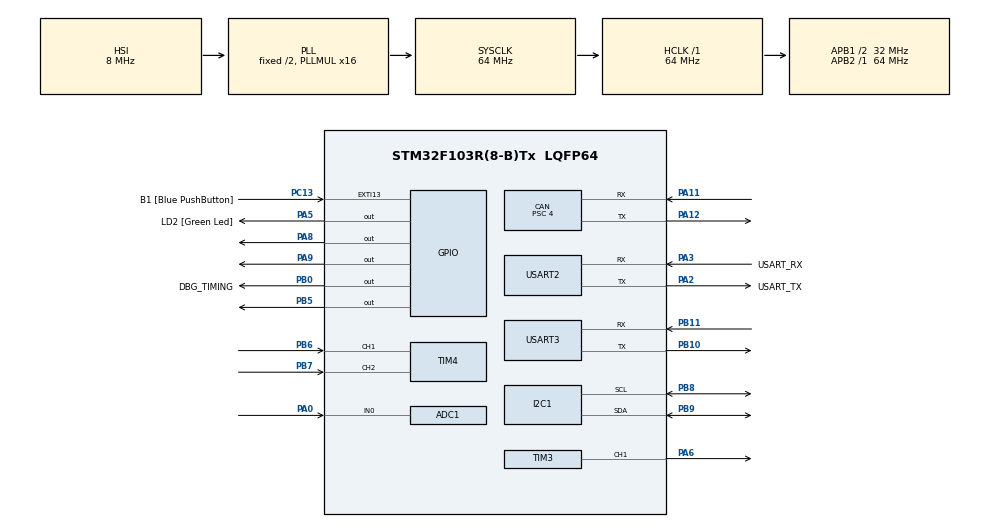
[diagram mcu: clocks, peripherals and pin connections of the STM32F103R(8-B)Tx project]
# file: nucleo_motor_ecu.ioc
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ADC1.Channel-0\#ChannelRegularConversion=ADC_CHANNEL_0
ADC1.ContinuousConvMode=ENABLE
ADC1.NbrOfConversionFlag=1
ADC1.Rank-0\#ChannelRegularConversion=1
ADC1.SamplingTime-0\#ChannelRegularConversion=ADC_SAMPLETIME_55CYCLES_5
ADC1.master=1
CAN.ABOM=ENABLE
CAN.BS1=CAN_BS1_13TQ
CAN.BS2=CAN_BS2_2TQ
CAN.CalculateBaudRate=500000
CAN.CalculateTimeBit=2000
CAN.CalculateTimeQuantum=125.0
CAN.Mode=CAN_MODE_NORMAL
CAN.NART=ENABLE
CAN.Prescaler=4
Dma.ADC1.0.Direction=DMA_PERIPH_TO_MEMORY
Dma.ADC1.0.Instance=DMA1_Channel1
Dma.ADC1.0.MemDataAlignment=DMA_MDATAALIGN_HALFWORD
Dma.ADC1.0.MemInc=DMA_MINC_ENABLE
Dma.ADC1.0.Mode=DMA_CIRCULAR
Dma.ADC1.0.PeriphDataAlignment=DMA_PDATAALIGN_HALFWORD
Dma.ADC1.0.PeriphInc=DMA_PINC_DISABLE
Dma.ADC1.0.Priority=DMA_PRIORITY_LOW
Dma.Request0=ADC1
IWDG.Prescaler=IWDG_PRESCALER_32
IWDG.Reload=125
Mcu.Family=STM32F1
Mcu.Name=STM32F103R(8-B)Tx
Mcu.Package=LQFP64
NVIC.DMA1_Channel1_IRQn=true\:0\:0\:false\:false\:true\:false\:true\:true
NVIC.EXTI15_10_IRQn=true\:0\:0\:false\:false\:true\:true\:true\:true
NVIC.PriorityGroup=NVIC_PRIORITYGROUP_4
NVIC.TIM2_IRQn=true\:0\:0\:false\:false\:true\:true\:true\:true
NVIC.USART2_IRQn=true\:0\:0\:false\:false\:true\:true\:true\:true
NVIC.USB_LP_CAN1_RX0_IRQn=true\:1\:0\:true\:false\:true\:true\:true\:true
PA0-WKUP.Signal=ADCx_IN0
PA11.Mode=CAN_Activate
PA11.Signal=CAN_RX
PA12.Mode=CAN_Activate
PA12.Signal=CAN_TX
PA13.GPIO_Label=TMS
PA13.Mode=Serial_Wire
PA13.Signal=SYS_JTMS-SWDIO
PA14.GPIO_Label=TCK
PA14.Mode=Serial_Wire
PA14.Signal=SYS_JTCK-SWCLK
PA2.GPIO_Label=USART_TX
PA2.GPIO_Mode=GPIO_MODE_AF_PP
PA2.GPIO_PuPd=GPIO_NOPULL
PA2.GPIO_Speed=GPIO_SPEED_FREQ_LOW
PA2.Mode=Asynchronous
PA2.Signal=USART2_TX
PA3.GPIO_Label=USART_RX
PA3.GPIO_Mode=GPIO_MODE_AF_PP
PA3.GPIO_PuPd=GPIO_NOPULL
PA3.GPIO_Speed=GPIO_SPEED_FREQ_LOW
PA3.Mode=Asynchronous
PA3.Signal=USART2_RX
PA5.GPIO_Label=LD2 [Green Led]
PA5.GPIO_ModeDefaultOutputPP=GPIO_MODE_OUTPUT_PP
PA5.GPIO_PuPd=GPIO_NOPULL
PA5.GPIO_Speed=GPIO_SPEED_FREQ_LOW
PA5.Signal=GPIO_Output
PA6.Signal=S_TIM3_CH1
PA8.Signal=GPIO_Output
PA9.Signal=GPIO_Output
PB0.GPIO_Label=DBG_TIMING
PB0.Signal=GPIO_Output
PB10.Mode=Asynchronous
PB10.Signal=USART3_TX
PB11.Mode=Asynchronous
PB11.Signal=USART3_RX
PB3.GPIO_Label=SWO
PB3.Signal=SYS_JTDO-TRACESWO
PB5.Signal=GPIO_Output
PB6.Signal=S_TIM4_CH1
PB7.Signal=S_TIM4_CH2
PB8.Mode=I2C
PB8.Signal=I2C1_SCL
PB9.Mode=I2C
PB9.Signal=I2C1_SDA
PC13-TAMPER-RTC.GPIO_Label=B1 [Blue PushButton]
PC13-TAMPER-RTC.GPIO_PuPd=GPIO_NOPULL
PC13-TAMPER-RTC.Signal=GPXTI13
PC14-OSC32_IN.Mode=LSE-External-Oscillator
PC14-OSC32_IN.Signal=RCC_OSC32_IN
PC15-OSC32_OUT.Mode=LSE-External-Oscillator
PC15-OSC32_OUT.Signal=RCC_OSC32_OUT
PD0-OSC_IN.Mode=HSE-External-Clock-Source
PD0-OSC_IN.Signal=RCC_OSC_IN
PD1-OSC_OUT.Mode=HSE-External-Clock-Source
PD1-OSC_OUT.Signal=RCC_OSC_OUT
ProjectManager.HeapSize=0x200
ProjectManager.StackSize=0x400
ProjectManager.TargetToolchain=CMake
RCC.ADCPresc=RCC_ADCPCLK2_DIV6
RCC.AHBFreq_Value=64000000
RCC.APB1CLKDivider=RCC_HCLK_DIV2
RCC.APB1Freq_Value=32000000
RCC.APB1TimFreq_Value=64000000
RCC.APB2Freq_Value=64000000
RCC.APB2TimFreq_Value=64000000
RCC.HCLKFreq_Value=64000000
RCC.PLLMUL=RCC_PLL_MUL16
RCC.RTCClockSelection=RCC_RTCCLKSOURCE_LSE
RCC.SYSCLKFreq_VALUE=64000000
RCC.SYSCLKSource=RCC_SYSCLKSOURCE_PLLCLK
RCC.USBFreq_Value=64000000
SH.ADCx_IN0.0=ADC1_IN0,IN0
SH.S_TIM3_CH1.0=TIM3_CH1,PWM Generation1 CH1
SH.S_TIM4_CH1.0=TIM4_CH1,Encoder_Interface
SH.S_TIM4_CH2.0=TIM4_CH2,Encoder_Interface
TIM2.Period=999
TIM2.Prescaler=63
TIM3.Channel-PWM\ Generation1\ CH1=TIM_CHANNEL_1
TIM3.Period=3199
TIM4.EncoderMode=TIM_ENCODERMODE_TI12
TIM4.IC1Filter=10
TIM4.IC1Polarity=TIM_ICPOLARITY_FALLING
TIM4.IC2Filter=10
USART2.VirtualMode=VM_ASYNC
USART3.VirtualMode=VM_ASYNC
VP_IWDG_VS_IWDG.Mode=IWDG_Activate
VP_TIM2_VS_ClockSourceINT.Mode=Internal
VP_TIM3_VS_ClockSourceINT.Mode=Internal
board=NUCLEO-F103RB

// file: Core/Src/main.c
/* USER CODE BEGIN Header */
/**
  ******************************************************************************
  * @file           : main.c
  * @brief          : Main program body
  ******************************************************************************
  * @attention
  *
  * Copyright (c) 2026 STMicroelectronics.
  * All rights reserved.
  *
  * This software is licensed under terms that can be found in the LICENSE file
  * in the root directory of this software component.
  * If no LICENSE file comes with this software, it is provided AS-IS.
  *
  ******************************************************************************
  */
/* USER CODE END Header */
#include "main.h"

/* USER CODE BEGIN Includes */
#include "stdio.h"
#include "stm32f1xx_hal_adc_ex.h"
#include <stdint.h>
#include <stdbool.h>
#include "motor.h"
#include "cmd.h"
#include "encoder.h"
#include "ctrl.h"
#include "stm32f1xx_hal_def.h"
#include "stm32f1xx_hal_gpio.h"
#include "stm32f1xx_hal_i2c.h"
#include "can_if.h"
#include "ina219.h"
#include "lcd.h"
#include "fault.h"
/* USER CODE END Includes */

/* USER CODE BEGIN PD */
#define TASK_10MS_PERIOD    (10U)
#define TASK_100MS_PERIOD  (100U)
#define TASK_1000MS_PERIOD (1000U)
#define LED_PIN_POS        (5U)       // PA5 = 5번 핀
#define LED_PIN_MASK       (1UL << LED_PIN_POS) // 0x0020 5번 비트만 1인 값
#define LED_CRL_SHIFT      (LED_PIN_POS * 4U)   //CRL에서 PA5 설정이 시작하는 비트 = 20 (핀당 4비트)
#define ADC_MAX_COUNT      (4095U) //12비트 ADC 최대값
#define ADC_MA_LEN         (16U) //이동평균에 쓰는 샘플 수
#define ADC_MA_SHIFT       (4U) // 16 = 2^4 -> 나누기 대신 4칸 오른쪽 이동
/* Day 7 실험: 1 = 제어 루프를 TIM2 ISR에서 실행(원래 방식, A)
 *             0 = main loop의 10ms 태스크에서 실행(비교용, B)
 * 실험이 끝나면 반드시 1로 되돌린다 */
#define CTRL_IN_ISR        (1)
#define STATUS_DIV_10MS    (2U) //0x200 주기 20ms
#define FI06_TEST          (0)  //FI-06 시험용: 1 = B1 버튼 누르면 main을 일부러 멈춤. 시험 후 반드시 0

/* USER CODE END PD */

ADC_HandleTypeDef hadc1;
DMA_HandleTypeDef hdma_adc1;

CAN_HandleTypeDef hcan;

I2C_HandleTypeDef hi2c1;

IWDG_HandleTypeDef hiwdg;

TIM_HandleTypeDef htim2;
TIM_HandleTypeDef htim3;
TIM_HandleTypeDef htim4;

UART_HandleTypeDef huart2;
UART_HandleTypeDef huart3;

/* USER CODE BEGIN PV */
static volatile uint8_t g_btn_pressed = 0U;
static volatile uint32_t g_ms_tick = 0U;
static volatile uint32_t g_flag_10ms = 0U;
static volatile uint32_t g_flag_100ms = 0U;
static volatile uint32_t g_flag_1000ms = 0U;
static volatile uint16_t adc_buf[1];    // DMA가 여기에 최신 변환 값을 계속 덮어 씀(ISR/DMA와 main이 공유 -> volatile)
static volatile uint16_t g_ina_ma = 0U; /*main이 INA219로 읽은 전류(mA)
                                        TIM2 ISR이 0x200에 실어 보낸다. ISR과 main이 같이 쓰므로 volatile. 16비트 값*/
/* USER CODE END PV */

void SystemClock_Config(void);
static void MX_GPIO_Init(void);
static void MX_DMA_Init(void);
static void MX_USART2_UART_Init(void);
static void MX_TIM2_Init(void);
static void MX_USART3_UART_Init(void);
static void MX_ADC1_Init(void);
static void MX_TIM3_Init(void);
static void MX_TIM4_Init(void);
static void MX_I2C1_Init(void);
static void MX_CAN_Init(void);
static void MX_IWDG_Init(void);

/* USER CODE BEGIN 0 */
int __io_putchar(int ch)
{
  uint8_t c = (uint8_t)ch;        // int(4바이트) → 1바이트 글자로 안전하게 변환
  (void)HAL_UART_Transmit(&huart2, &c, 1U, HAL_MAX_DELAY);    // 기존: USART2 → ST-LINK → PC 시리얼 모니터
  (void)HAL_UART_Transmit(&huart3, &c, 1U, HAL_MAX_DELAY);    // 추가: USART3 → PB10(D6) → 로직 분석기
  return ch;       // printf 규칙: 보낸 글자를 돌려줌
}
void HAL_GPIO_EXTI_Callback(uint16_t GPIO_Pin)
{
  if (GPIO_Pin == B1_Pin)
  {
    g_btn_pressed = 1U;
  }
}
// LD2(PA5)를 HAL 없이 레지스터로 설정한다. 근거: RM0008 7.3.7, 9.2.1
static void LedReg_Init(void)
{
  RCC->APB2ENR |= RCC_APB2ENR_IOPAEN;   //GPIOA 클럭 켜기, 꺼져 있으면 아래 쓰기가 전부 무시됨
  GPIOA->CRL  &= ~(0xFUL << LED_CRL_SHIFT);   //PA5의 4비트(23:20)를 먼저 0000으로 지우기
  /* &= 다음에 |=하는 이유는 CRL은 핀 8개의 설정이 한 레지스터에 같이 들어있다
     그래서 PA5칸만 지우고 -> 새 값을 넣어야 다른핀 설정이 안 망가진다. 이걸 Read modify wirte라고함.*/
  GPIOA-> CRL |= (0x2UL << LED_CRL_SHIFT);    //0010 쓰기: MODE=10(출력 2MHz), CNF=00(push-pull)
  GPIOA-> BRR = LED_PIN_MASK;   // 시작은 꺼진 상태로
}
// LD2를 레지스터로 토글한다. 근거: RM0008 9.2.4(ODR), 9.2.5(BSRR), 9.2.6
static void LedReg_Toggle(void)
{
  if((GPIOA->ODR & LED_PIN_MASK) != 0U)   // ODR = 지금 내보내는 값. 5번 비트가 1이면 켜져 있는 것
  {
    GPIOA->BRR = LED_PIN_MASK;
  }
  else {
  {
    GPIOA->BSRR = LED_PIN_MASK;
  }
  }
}
/* USER CODE END 0 */

int main(void)
{

  /* MCU Configuration--------------------------------------------------------*/

  /* Reset of all peripherals, Initializes the Flash interface and the Systick. */
  HAL_Init();

  /* Configure the system clock */
  SystemClock_Config();

  /* Initialize all configured peripherals */
  MX_GPIO_Init();
  MX_DMA_Init();
  MX_USART2_UART_Init();
  MX_TIM2_Init();
  MX_USART3_UART_Init();
  MX_ADC1_Init();
  MX_TIM3_Init();
  MX_TIM4_Init();
  MX_I2C1_Init();
  MX_CAN_Init();
  /* USER CODE BEGIN 2 */
  printf("CTRL_IN_ISR=%d\r\n", CTRL_IN_ISR);
    /* SR-06: 리셋 원인 확인. RCC->CSR의 플래그는 리셋돼도 남아 있다가 직접 지워야 사라진다 */
  if (__HAL_RCC_GET_FLAG(RCC_FLAG_IWDGRST) != 0U)
  {
    printf("reset by watchdog\r\n");      /* 지난번에 소프트웨어가 멈춰 IWDG가 리셋함 */
  }
  else if (__HAL_RCC_GET_FLAG(RCC_FLAG_PINRST) != 0U)
  {
    printf("reset by NRST pin\r\n");      /* 리셋 버튼, 또는 디버거가 건 리셋 */
  }
  else
  {
    /* 그 밖(전원 켬 등) */
  }
  __HAL_RCC_CLEAR_RESET_FLAGS();          /* RMVF 비트로 전부 지움 -> 다음 리셋 때 새 원인만 남음 */
  uint32_t blink_ms = 500U;
  uint32_t blink_acc = 0U;
  uint32_t last_btn = 0U;
  uint32_t tick_count = 0U;
  uint32_t run_10ms = 0U;
  uint32_t run_100ms = 0U;
  int16_t ina_i_x10 = 0;
  uint16_t ina_bus_mv = 0U;
  uint32_t ina_div = 0U;
  uint32_t lcd_div = 0U; //100ms 태스크를 2번 세서 200ms마다 LCD갱신
  char lcd_line[17]; //16글자 + 문자열 끝 표시 '\0' 1칸

  LedReg_Init();          // LED를 레지스터로 다시 설정(HAL 설정을 덮어씀)
  uint16_t ma_buf[ADC_MA_LEN] = {0U}; // 최근 16개 샘플 보관
  uint32_t ma_sum = 0U; //16개의 합
  uint32_t ma_idx = 0U; // 다음에 덮어쓸 칸
  uint16_t adc_raw = 0U; //필터 전 값
  uint16_t adc_avg = 0U; //필터 후 값
  uint16_t raw_min = ADC_MAX_COUNT, raw_max = 0U; //1초 동안의 필터 전 최소/최대
  uint16_t avg_min = ADC_MAX_COUNT, avg_max = 0U; //1초 동안의 필터 후 최소/최대

  if(HAL_ADCEx_Calibration_Start(&hadc1) != HAL_OK)  //F1 전용 자체 보정. 시작 전에 해야함
  {
    Error_Handler();
  }
  if(HAL_ADC_Start_DMA(&hadc1, (uint32_t *)adc_buf, 1U) != HAL_OK) // 변환 시작 + DMA가 adc_but[0]에 계속 저장
  {
    Error_Handler();
  }
   __HAL_DMA_DISABLE_IT(&hdma_adc1, (DMA_IT_TC | DMA_IT_HT));   // 완료·절반 완료 인터럽트만 끔. 전송 자체(DMA 복사)는 계속됨
  motor_init();
  motor_enable(true);
  encoder_init();
  ctrl_init();
  cmd_init();
  printf("Day6 start\r\n");
  printf("Day7 start\r\n");
  /*Day 7: I2C 버스 스캔. 응답(ACK)하는 7비트 주소를 출력한다 */
  {
    uint32_t found = 0U;
    for(uint16_t addr = 1U; addr < 128U; addr++)
    {
      /*HAL은 8비트 형식 주소를 받는다:7비트 주소를 한칸 왼쪽으로, bit0은 R/W자리*/
      if(HAL_I2C_IsDeviceReady(&hi2c1, (uint16_t)(addr << 1), 1U, 10U) == HAL_OK)
      {
        printf(" found 0x%02X\r\n", (unsigned)addr);
        found++;
      }
    }
    printf("I2C scan: %lu device(s)\r\n", (unsigned long)found);
  }
  {
    uint16_t cfg = 0U;
    HAL_StatusTypeDef st = ina219_init(&hi2c1, &cfg);
    printf("INA219 init=%d cfg=0x%04X\r\n",(int)st, (unsigned)cfg);
  }
    /* Day 7: LCD 초기화 + 시험 문구 */
  {
    HAL_StatusTypeDef st = lcd_init(&hi2c1);
    printf("LCD init=%d\r\n", (int)st);          /* 0이면 성공 */
    (void)lcd_set_cursor(0U, 0U);
    (void)lcd_print("Day7 LCD OK");
    (void)lcd_set_cursor(1U, 0U);
    (void)lcd_print("Motor ECU");
  }

  //Day 8: CAN 루프백 시작(필터 -> start -> 수신 인터럽트)
  printf("CAN init=%d\r\n", (int)can_if_init(&hcan)); //0이면 성공

  fault_init(); //제어 ISR시작전에 안전 상태로 초기화

  if (HAL_TIM_Base_Start_IT(&htim2) != HAL_OK)
  {
    Error_Handler();
  }
    __HAL_DBGMCU_FREEZE_IWDG();   /* 디버거가 CPU를 세우면 IWDG도 멈춤(브레이크포인트에서 리셋 방지) */
  MX_IWDG_Init();               /* 초기화가 다 끝난 뒤에 켠다. 한 번 켜면 끌 수 없음 */
  printf("IWDG on (~100ms)\r\n");
  /* USER CODE END 2 */

  /* Infinite loop */
  while (1)
  {

    /* USER CODE BEGIN 3 */
    HAL_IWDG_Refresh(&hiwdg);   /* SR-06: main loop가 한 바퀴 돌 때마다 카운터를 125로 되돌림 */
    cmd_poll();
    if(g_btn_pressed != 0U)
    {
      g_btn_pressed = 0U;
      uint32_t now = HAL_GetTick();
      if((now - last_btn) >= 50U)
      {
        last_btn = now;
        blink_ms = (blink_ms == 500U) ? 100U : 500U;
        printf("blink %lu ms\r\n", (unsigned long)blink_ms);
        #if (FI06_TEST != 0)
        printf("FI-06: hang\r\n");   /* 이 줄이 찍힌 뒤 main이 멈춘다 */
        while (1)
        {
          /* SR-06 시험: 여기서 HAL_IWDG_Refresh()가 더 이상 불리지 않음 -> 약 100ms 뒤 IWDG 리셋 */
        }
        #endif
      }
    }

    // 10ms 태스크: 다음 단계에서 PB0 타이밍 핀을 붙일 자리
    if(g_flag_10ms != 0U)
    {
      g_flag_10ms = 0U;     // 깃발을 먼저 내림
#if (CTRL_IN_ISR == 0)
      /* B: main이 깃발을 확인했을 때야 실행된다.
       *    main이 LCD 갱신(I2C 블로킹 약 20ms) 중이면 그게 끝날 때까지 늦어지고,
       *    그 사이 깃발이 두 번 서도 한 번만 실행된다(한 주기 놓침) */
      HAL_GPIO_WritePin(DBG_TIMING_GPIO_Port, DBG_TIMING_Pin, GPIO_PIN_SET);
      ctrl_step_10ms();
      HAL_GPIO_WritePin(DBG_TIMING_GPIO_Port, DBG_TIMING_Pin, GPIO_PIN_RESET);
#endif
      run_10ms++;           // 셀자 작업(지금은 횟수 세기뿐, 6일차에 PI 제어가 들어옴)
      adc_raw = adc_buf[0]; // DMA가 채워둔 최신 값을 한 번 집어 옴
      ma_sum -= ma_buf[ma_idx]; // 가장 오래된 값을 합에서 빼고
      ma_buf[ma_idx] = adc_raw; //그 자리에 새 값을 넣고
      ma_sum += adc_raw; //합에 더함
      ma_idx = (ma_idx + 1U) % ADC_MA_LEN; //다음칸 (15다음은0)
      adc_avg = (uint16_t)(ma_sum >> ADC_MA_SHIFT); // 합/16 = 평균
      if(adc_raw < raw_min) {raw_min = adc_raw;} //노이즈 측정: 최소/최대 갱신
      if(adc_raw > raw_max) {raw_max = adc_raw;}
      if(adc_avg < avg_min) {avg_min = adc_avg;}
      if(adc_avg > avg_max) {avg_max = adc_avg;}
      if (cmd_log_on())
      {
        printf("%lu,%d,%ld,%d\r\n", (unsigned long)g_ms_tick,
               (int)(ctrl_get_target_rpm() * 10.0f),
               (long)ctrl_get_rpm_x10(), (int)ctrl_get_duty());
      }

      if(++ina_div >= 2U) /* 10ms x 2 = 20ms마다*/
      {
        ina_div = 0U;
        (void)ina219_read(&ina_i_x10, &ina_bus_mv);
        /*0x200 송신은 TIM2 ISR로 옮김. 여기서는 전류 값만 넘긴다(0.1mA 단위 -> mA, 음수는 0)*/
        g_ina_ma = (ina_i_x10 > 0) ? (uint16_t)(ina_i_x10 / 10) : 0U;
        fault_set_current(g_ina_ma, ina219_is_valid()); //SR-04/08: 판정은 ISR이 하고 main은 값만 넘김
      }

    }

    // 100ms 태스크: LED 깜빡임
    if(g_flag_100ms != 0U)
    {
      g_flag_100ms= 0U;
      run_100ms++;
      printf("rpm_x10=%ld I_x10=%d mA V=%u mV\r\n", (long)encoder_get_rpm_x10(),
      (int)ina_i_x10, (unsigned)ina_bus_mv);
      //printf("rpm_x10=%ld\r\n", (long)encoder_get_rpm_x10());
      //printf("tot=%ld d=%d\r\n", (long)encoder_get_total(), (int)encoder_get_delta());
      //printf("adc raw=%4u avg=%4u pct=%3u%%\r\n", (unsigned)adc_raw,(unsigned)adc_avg, (unsigned)(((uint32_t)adc_avg*100U) / ADC_MAX_COUNT)); //0~4095 -> 0~100%
      blink_acc += TASK_100MS_PERIOD;   //100ms 흘렀음
      if(blink_acc >= blink_ms)         //정한 간격만큼 쌓이면
      {
        blink_acc = 0U;                    //누적 시간 초기화
        LedReg_Toggle();
        /*HAL_GPIO_TogglePin(LD2_GPIO_Port, LD2_Pin); //LED 토글, 레지스터로 LED 토글을 위해 잠시 비활성화*/
      }
      /* LCD 갱신 (200ms마다). I2C 블로킹 약 20ms라 ISR이 아닌 main loop에서 한다 */
      if (++lcd_div >= 2U)
      {
        lcd_div = 0U;
        int32_t rpm = (int32_t)ctrl_get_rpm_x10() / 10;        /* 0.1rpm 단위 → rpm 정수 */
        int32_t tgt = (int32_t)ctrl_get_target_rpm();          /* 목표 rpm */
        static const char *const k_st[] = {"STP", "RUN", "FLT"};  /* ecu_state_t 순서와 같게 */
        ecu_state_t st = fault_get_state();
        /* LCD 3칸에 맞게 0~999로 제한: 이상값이 줄을 밀어내지 않고, 컴파일러도 길이를 확정할 수 있다 */
        if (rpm < 0) { rpm = 0; } else if (rpm > 999) { rpm = 999; }
        if (tgt < 0) { tgt = 0; } else if (tgt > 999) { tgt = 999; }
        (void)snprintf(lcd_line, sizeof(lcd_line), "T:%3ld R:%3ld %s", (long)tgt, (long)rpm, k_st[(uint32_t)st]);
        (void)lcd_print_line(0U, lcd_line);

        if (ina219_is_valid() != 0U)
        {
          /* LCD 칸 수에 맞게 범위를 먼저 자른다.
          전류 -999~9999mA(최대 4글자), 전압 정수부 0~9V(1글자) -> "I:9999mA V:9.99" = 15글자 + '\0' = 16칸 <= 17칸 */
          int32_t  ma   = (int32_t)ina_i_x10 / 10;          /* 0.1mA 단위 → mA */
          uint32_t v_i  = (uint32_t)ina_bus_mv / 1000U;     /* 정수 V */
          uint32_t v_f  = ((uint32_t)ina_bus_mv % 1000U) / 10U;  /* 소수 둘째 자리 (0~99) */
          if (ma < -999) { ma = -999; } else if (ma > 9999) { ma = 9999; }
          if (v_i > 9U) { v_i = 9U; }   /* 우리 전원은 약 3V. 9V 넘는 값은 이상값이라 표시만 제한 */
          (void)snprintf(lcd_line, sizeof(lcd_line), "I:%4ldmA V:%lu.%02lu",
                         (long)ma, (unsigned long)v_i, (unsigned long)v_f);
        }
        else
        {
          /* 센서 값이 믿을 수 없으면 옛 숫자를 보여 주지 않는다 */
          (void)snprintf(lcd_line, sizeof(lcd_line), "I:----mA V:-.--");
        }
        (void)lcd_print_line(1U, lcd_line);
      }
    }

    // 1000ms 태스크: 상태 로그 (printf처럼 느린 일은 느린 태스크에)
    if(g_flag_1000ms !=0U)
    {
      g_flag_1000ms =0U;
      printf("tick %lu time2-%lu hal-%lu t10=%lu t100=%lu\r\n",
              (unsigned long)tick_count, (unsigned long)g_ms_tick,
              (unsigned long)HAL_GetTick(),
              (unsigned long)run_10ms, (unsigned long)run_100ms);
      printf("noise raw=%u avg=%u\r\n", (unsigned)(raw_max - raw_min), (unsigned)(avg_max - avg_min));
      printf("ina vaild= %u err=%lu rec=%lu\r\n", (unsigned)ina219_is_valid(),
              (unsigned long)ina219_get_err_count(),
              (unsigned long)ina219_get_recover_count());
      {
        can_if_stats_t cs;
        can_if_get_stats(&cs);
        /* age = 마지막 유효 프레임 이후 경과 ms. 정상이면 0~10, 선이 빠지면 계속 커진다 */
        printf("can ok=%lu cs=%lu alive=%lu dlc=%lu cons=%u rpm=%u a=%u age=%lu\r\n",
               (unsigned long)cs.rx_ok, (unsigned long)cs.err_checksum,
               (unsigned long)cs.err_alive, (unsigned long)cs.err_dlc,
               (unsigned)cs.consec_err, (unsigned)cs.last_rpm, (unsigned)cs.last_alive,
               (unsigned long)(HAL_GetTick() - cs.last_ok_ms));
        printf("ecu st=%u fc=0x%02X\r\n", (unsigned)fault_get_state(), (unsigned)fault_get_code());
      }

      raw_min = ADC_MAX_COUNT; raw_max = 0U; //다음 1초를 다시 잼
      avg_min = ADC_MAX_COUNT; avg_max = 0U;
      tick_count++;
      run_10ms = 0U;        //다음 1초를 다시 셈
      run_100ms = 0U;
    }
  }
  /* USER CODE END 3 */
}

void SystemClock_Config(void)
{
  RCC_OscInitTypeDef RCC_OscInitStruct = {0};
  RCC_ClkInitTypeDef RCC_ClkInitStruct = {0};
  RCC_PeriphCLKInitTypeDef PeriphClkInit = {0};

  /** Initializes the RCC Oscillators according to the specified parameters
  * in the RCC_OscInitTypeDef structure.
  */
  RCC_OscInitStruct.OscillatorType = RCC_OSCILLATORTYPE_HSI|RCC_OSCILLATORTYPE_LSI;
  RCC_OscInitStruct.HSIState = RCC_HSI_ON;
  RCC_OscInitStruct.HSICalibrationValue = RCC_HSICALIBRATION_DEFAULT;
  RCC_OscInitStruct.LSIState = RCC_LSI_ON;
  RCC_OscInitStruct.PLL.PLLState = RCC_PLL_ON;
  RCC_OscInitStruct.PLL.PLLSource = RCC_PLLSOURCE_HSI_DIV2;
  RCC_OscInitStruct.PLL.PLLMUL = RCC_PLL_MUL16;
  if (HAL_RCC_OscConfig(&RCC_OscInitStruct) != HAL_OK)
  {
    Error_Handler();
  }

  /** Initializes the CPU, AHB and APB buses clocks
  */
  RCC_ClkInitStruct.ClockType = RCC_CLOCKTYPE_HCLK|RCC_CLOCKTYPE_SYSCLK
                              |RCC_CLOCKTYPE_PCLK1|RCC_CLOCKTYPE_PCLK2;
  RCC_ClkInitStruct.SYSCLKSource = RCC_SYSCLKSOURCE_PLLCLK;
  RCC_ClkInitStruct.AHBCLKDivider = RCC_SYSCLK_DIV1;
  RCC_ClkInitStruct.APB1CLKDivider = RCC_HCLK_DIV2;
  RCC_ClkInitStruct.APB2CLKDivider = RCC_HCLK_DIV1;

  if (HAL_RCC_ClockConfig(&RCC_ClkInitStruct, FLASH_LATENCY_2) != HAL_OK)
  {
    Error_Handler();
  }
  PeriphClkInit.PeriphClockSelection = RCC_PERIPHCLK_ADC;
  PeriphClkInit.AdcClockSelection = RCC_ADCPCLK2_DIV6;
  if (HAL_RCCEx_PeriphCLKConfig(&PeriphClkInit) != HAL_OK)
  {
    Error_Handler();
  }
}

static void MX_ADC1_Init(void)
{

  ADC_ChannelConfTypeDef sConfig = {0};

  /** Common config
  */
  hadc1.Instance = ADC1;
  hadc1.Init.ScanConvMode = ADC_SCAN_DISABLE;
  hadc1.Init.ContinuousConvMode = ENABLE;
  hadc1.Init.DiscontinuousConvMode = DISABLE;
  hadc1.Init.ExternalTrigConv = ADC_SOFTWARE_START;
  hadc1.Init.DataAlign = ADC_DATAALIGN_RIGHT;
  hadc1.Init.NbrOfConversion = 1;
  if (HAL_ADC_Init(&hadc1) != HAL_OK)
  {
    Error_Handler();
  }

  /** Configure Regular Channel
  */
  sConfig.Channel = ADC_CHANNEL_0;
  sConfig.Rank = ADC_REGULAR_RANK_1;
  sConfig.SamplingTime = ADC_SAMPLETIME_55CYCLES_5;
  if (HAL_ADC_ConfigChannel(&hadc1, &sConfig) != HAL_OK)
  {
    Error_Handler();
  }

}

static void MX_CAN_Init(void)
{

  hcan.Instance = CAN1;
  hcan.Init.Prescaler = 4;
  hcan.Init.Mode = CAN_MODE_NORMAL;
  hcan.Init.SyncJumpWidth = CAN_SJW_1TQ;
  hcan.Init.TimeSeg1 = CAN_BS1_13TQ;
  hcan.Init.TimeSeg2 = CAN_BS2_2TQ;
  hcan.Init.TimeTriggeredMode = DISABLE;
  hcan.Init.AutoBusOff = ENABLE;
  hcan.Init.AutoWakeUp = DISABLE;
  hcan.Init.AutoRetransmission = ENABLE;
  hcan.Init.ReceiveFifoLocked = DISABLE;
  hcan.Init.TransmitFifoPriority = DISABLE;
  if (HAL_CAN_Init(&hcan) != HAL_OK)
  {
    Error_Handler();
  }

}

static void MX_I2C1_Init(void)
{

  hi2c1.Instance = I2C1;
  hi2c1.Init.ClockSpeed = 100000;
  hi2c1.Init.DutyCycle = I2C_DUTYCYCLE_2;
  hi2c1.Init.OwnAddress1 = 0;
  hi2c1.Init.AddressingMode = I2C_ADDRESSINGMODE_7BIT;
  hi2c1.Init.DualAddressMode = I2C_DUALADDRESS_DISABLE;
  hi2c1.Init.OwnAddress2 = 0;
  hi2c1.Init.GeneralCallMode = I2C_GENERALCALL_DISABLE;
  hi2c1.Init.NoStretchMode = I2C_NOSTRETCH_DISABLE;
  if (HAL_I2C_Init(&hi2c1) != HAL_OK)
  {
    Error_Handler();
  }

}

static void MX_IWDG_Init(void)
{

  hiwdg.Instance = IWDG;
  hiwdg.Init.Prescaler = IWDG_PRESCALER_32;
  hiwdg.Init.Reload = 125;
  if (HAL_IWDG_Init(&hiwdg) != HAL_OK)
  {
    Error_Handler();
  }

}

static void MX_TIM2_Init(void)
{

  TIM_ClockConfigTypeDef sClockSourceConfig = {0};
  TIM_MasterConfigTypeDef sMasterConfig = {0};

  htim2.Instance = TIM2;
  htim2.Init.Prescaler = 63;
  htim2.Init.CounterMode = TIM_COUNTERMODE_UP;
  htim2.Init.Period = 999;
  htim2.Init.ClockDivision = TIM_CLOCKDIVISION_DIV1;
  htim2.Init.AutoReloadPreload = TIM_AUTORELOAD_PRELOAD_DISABLE;
  if (HAL_TIM_Base_Init(&htim2) != HAL_OK)
  {
    Error_Handler();
  }
  sClockSourceConfig.ClockSource = TIM_CLOCKSOURCE_INTERNAL;
  if (HAL_TIM_ConfigClockSource(&htim2, &sClockSourceConfig) != HAL_OK)
  {
    Error_Handler();
  }
  sMasterConfig.MasterOutputTrigger = TIM_TRGO_RESET;
  sMasterConfig.MasterSlaveMode = TIM_MASTERSLAVEMODE_DISABLE;
  if (HAL_TIMEx_MasterConfigSynchronization(&htim2, &sMasterConfig) != HAL_OK)
  {
    Error_Handler();
  }

}

static void MX_TIM3_Init(void)
{

  TIM_ClockConfigTypeDef sClockSourceConfig = {0};
  TIM_MasterConfigTypeDef sMasterConfig = {0};
  TIM_OC_InitTypeDef sConfigOC = {0};

  htim3.Instance = TIM3;
  htim3.Init.Prescaler = 0;
  htim3.Init.CounterMode = TIM_COUNTERMODE_UP;
  htim3.Init.Period = 3199;
  htim3.Init.ClockDivision = TIM_CLOCKDIVISION_DIV1;
  htim3.Init.AutoReloadPreload = TIM_AUTORELOAD_PRELOAD_DISABLE;
  if (HAL_TIM_Base_Init(&htim3) != HAL_OK)
  {
    Error_Handler();
  }
  sClockSourceConfig.ClockSource = TIM_CLOCKSOURCE_INTERNAL;
  if (HAL_TIM_ConfigClockSource(&htim3, &sClockSourceConfig) != HAL_OK)
  {
    Error_Handler();
  }
  if (HAL_TIM_PWM_Init(&htim3) != HAL_OK)
  {
    Error_Handler();
  }
  sMasterConfig.MasterOutputTrigger = TIM_TRGO_RESET;
  sMasterConfig.MasterSlaveMode = TIM_MASTERSLAVEMODE_DISABLE;
  if (HAL_TIMEx_MasterConfigSynchronization(&htim3, &sMasterConfig) != HAL_OK)
  {
    Error_Handler();
  }
  sConfigOC.OCMode = TIM_OCMODE_PWM1;
  sConfigOC.Pulse = 0;
  sConfigOC.OCPolarity = TIM_OCPOLARITY_HIGH;
  sConfigOC.OCFastMode = TIM_OCFAST_DISABLE;
  if (HAL_TIM_PWM_ConfigChannel(&htim3, &sConfigOC, TIM_CHANNEL_1) != HAL_OK)
  {
    Error_Handler();
  }
  HAL_TIM_MspPostInit(&htim3);

}

static void MX_TIM4_Init(void)
{

  TIM_Encoder_InitTypeDef sConfig = {0};
  TIM_MasterConfigTypeDef sMasterConfig = {0};

  htim4.Instance = TIM4;
  htim4.Init.Prescaler = 0;
  htim4.Init.CounterMode = TIM_COUNTERMODE_UP;
  htim4.Init.Period = 65535;
  htim4.Init.ClockDivision = TIM_CLOCKDIVISION_DIV1;
  htim4.Init.AutoReloadPreload = TIM_AUTORELOAD_PRELOAD_DISABLE;
  sConfig.EncoderMode = TIM_ENCODERMODE_TI12;
  sConfig.IC1Polarity = TIM_ICPOLARITY_FALLING;
  sConfig.IC1Selection = TIM_ICSELECTION_DIRECTTI;
  sConfig.IC1Prescaler = TIM_ICPSC_DIV1;
  sConfig.IC1Filter = 10;
  sConfig.IC2Polarity = TIM_ICPOLARITY_RISING;
  sConfig.IC2Selection = TIM_ICSELECTION_DIRECTTI;
  sConfig.IC2Prescaler = TIM_ICPSC_DIV1;
  sConfig.IC2Filter = 10;
  if (HAL_TIM_Encoder_Init(&htim4, &sConfig) != HAL_OK)
  {
    Error_Handler();
  }
  sMasterConfig.MasterOutputTrigger = TIM_TRGO_RESET;
  sMasterConfig.MasterSlaveMode = TIM_MASTERSLAVEMODE_DISABLE;
  if (HAL_TIMEx_MasterConfigSynchronization(&htim4, &sMasterConfig) != HAL_OK)
  {
    Error_Handler();
  }

}

static void MX_USART2_UART_Init(void)
{

  huart2.Instance = USART2;
  huart2.Init.BaudRate = 115200;
  huart2.Init.WordLength = UART_WORDLENGTH_8B;
  huart2.Init.StopBits = UART_STOPBITS_1;
  huart2.Init.Parity = UART_PARITY_NONE;
  huart2.Init.Mode = UART_MODE_TX_RX;
  huart2.Init.HwFlowCtl = UART_HWCONTROL_NONE;
  huart2.Init.OverSampling = UART_OVERSAMPLING_16;
  if (HAL_UART_Init(&huart2) != HAL_OK)
  {
    Error_Handler();
  }

}

static void MX_USART3_UART_Init(void)
{

  huart3.Instance = USART3;
  huart3.Init.BaudRate = 115200;
  huart3.Init.WordLength = UART_WORDLENGTH_8B;
  huart3.Init.StopBits = UART_STOPBITS_1;
  huart3.Init.Parity = UART_PARITY_NONE;
  huart3.Init.Mode = UART_MODE_TX_RX;
  huart3.Init.HwFlowCtl = UART_HWCONTROL_NONE;
  huart3.Init.OverSampling = UART_OVERSAMPLING_16;
  if (HAL_UART_Init(&huart3) != HAL_OK)
  {
    Error_Handler();
  }

}

static void MX_DMA_Init(void)
{

  /* DMA controller clock enable */
  __HAL_RCC_DMA1_CLK_ENABLE();

  /* DMA interrupt init */
  /* DMA1_Channel1_IRQn interrupt configuration */
  HAL_NVIC_SetPriority(DMA1_Channel1_IRQn, 0, 0);
  HAL_NVIC_EnableIRQ(DMA1_Channel1_IRQn);

}

static void MX_GPIO_Init(void)
{
  GPIO_InitTypeDef GPIO_InitStruct = {0};

  /* GPIO Ports Clock Enable */
  __HAL_RCC_GPIOC_CLK_ENABLE();
  __HAL_RCC_GPIOD_CLK_ENABLE();
  __HAL_RCC_GPIOA_CLK_ENABLE();
  __HAL_RCC_GPIOB_CLK_ENABLE();

  /*Configure GPIO pin Output Level */
  HAL_GPIO_WritePin(GPIOA, LD2_Pin|GPIO_PIN_8|GPIO_PIN_9, GPIO_PIN_RESET);

  /*Configure GPIO pin Output Level */
  HAL_GPIO_WritePin(GPIOB, DBG_TIMING_Pin|GPIO_PIN_5, GPIO_PIN_RESET);

  /*Configure GPIO pin : B1_Pin */
  GPIO_InitStruct.Pin = B1_Pin;
  GPIO_InitStruct.Mode = GPIO_MODE_IT_RISING;
  GPIO_InitStruct.Pull = GPIO_NOPULL;
  HAL_GPIO_Init(B1_GPIO_Port, &GPIO_InitStruct);

  /*Configure GPIO pins : LD2_Pin PA8 PA9 */
  GPIO_InitStruct.Pin = LD2_Pin|GPIO_PIN_8|GPIO_PIN_9;
  GPIO_InitStruct.Mode = GPIO_MODE_OUTPUT_PP;
  GPIO_InitStruct.Pull = GPIO_NOPULL;
  GPIO_InitStruct.Speed = GPIO_SPEED_FREQ_LOW;
  HAL_GPIO_Init(GPIOA, &GPIO_InitStruct);

  /*Configure GPIO pins : DBG_TIMING_Pin PB5 */
  GPIO_InitStruct.Pin = DBG_TIMING_Pin|GPIO_PIN_5;
  GPIO_InitStruct.Mode = GPIO_MODE_OUTPUT_PP;
  GPIO_InitStruct.Pull = GPIO_NOPULL;
  GPIO_InitStruct.Speed = GPIO_SPEED_FREQ_LOW;
  HAL_GPIO_Init(GPIOB, &GPIO_InitStruct);

  /* EXTI interrupt init*/
  HAL_NVIC_SetPriority(EXTI15_10_IRQn, 0, 0);
  HAL_NVIC_EnableIRQ(EXTI15_10_IRQn);

}

/* USER CODE BEGIN 4 */
void HAL_TIM_PeriodElapsedCallback(TIM_HandleTypeDef *htim)
{
  if (htim->Instance == TIM2)
  {
    g_ms_tick++;
    if ((g_ms_tick % TASK_10MS_PERIOD) == 0U)
    {
      g_flag_10ms = 1U; //main에게 10ms가 지났다는 알림을 보내는 코드
      /* DAY6이전에 사용한 HAL Timer 코드
      HAL_GPIO_WritePin(DBG_TIMING_GPIO_Port, DBG_TIMING_Pin, GPIO_PIN_SET);   // PB0 High: 제어 시작
      ctrl_step_10ms();  // 엔코더 -> PI -> PWM
      HAL_GPIO_WritePin(DBG_TIMING_GPIO_Port, DBG_TIMING_Pin, GPIO_PIN_RESET);  PB0 Low: 제어 끝  */
      //
#if (CTRL_IN_ISR != 0)
      /* A: ISR 안에서 바로 실행. main이 무엇을 하든(LCD 블로킹 중이어도) 10ms마다 끼어들어 실행된다 */
      HAL_GPIO_WritePin(DBG_TIMING_GPIO_Port, DBG_TIMING_Pin, GPIO_PIN_SET);   /* PB0 High: 제어 시작 */
      fault_step_10ms();         /* 통신 상태 판단 -> 목표값 적용 또는 안전 상태 */
      ctrl_step_10ms();          /* 엔코더 -> PI -> PWM */
      {
        static uint8_t s_status_div = 0U; //static:함수가 끝나도 값이 남아 있는 카운터
        if(++s_status_div >= STATUS_DIV_10MS)
        {
          s_status_div = 0U;
          //송신 메일 박스에 넣기만 하고 바로 돌아온다(전송 완료를 기다리지 않음) -> ISR이 길어지지 않음.
          //메일 박스 3개가 다 차있으면(상대 없음) HAL_BUSY로 그냥 건너 뛴다.
          (void)can_if_send_status((uint16_t)(ctrl_get_rpm_x10() / 10),
                                    g_ina_ma,
                                    (uint8_t)fault_get_state(),
                                    fault_get_code());
        }
      }
      HAL_GPIO_WritePin(DBG_TIMING_GPIO_Port, DBG_TIMING_Pin, GPIO_PIN_RESET); /* PB0 Low: 제어 끝 */
#endif
    }
    if ((g_ms_tick % TASK_100MS_PERIOD) == 0U)
    {
      g_flag_100ms = 1U;
    }
    if ((g_ms_tick % TASK_1000MS_PERIOD) == 0U)
    {
      g_flag_1000ms = 1U;
    }
  }
}
/* USER CODE END 4 */

void Error_Handler(void)
{
  __disable_irq();
  while (1)
  {
  }
}
